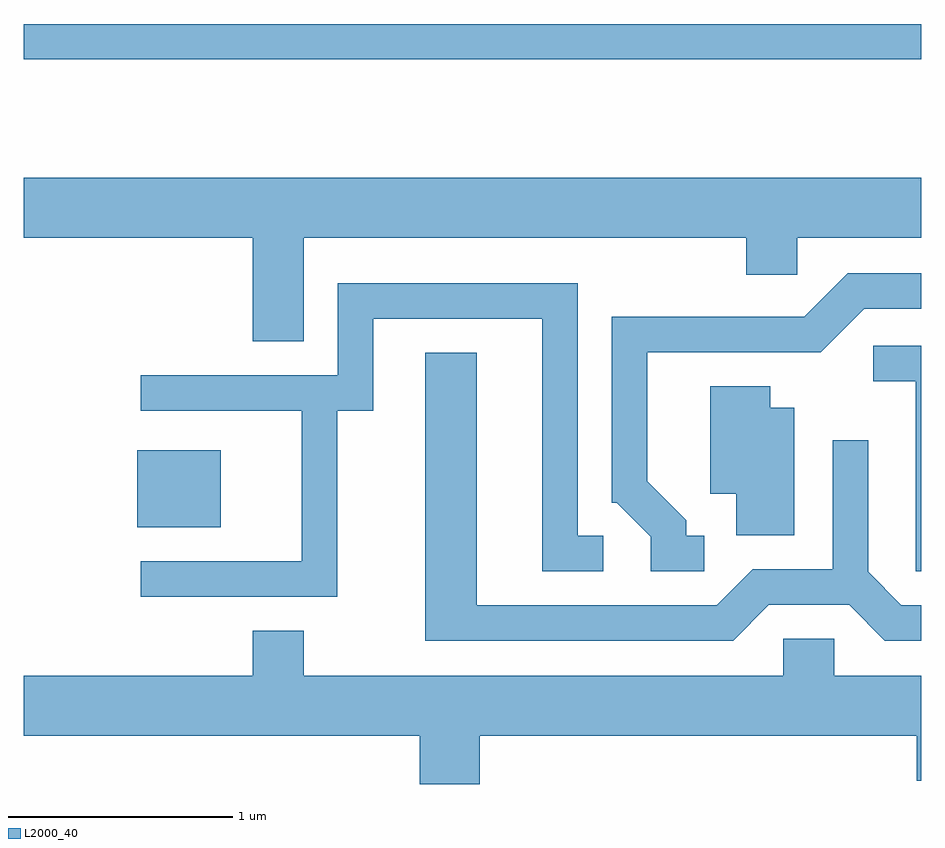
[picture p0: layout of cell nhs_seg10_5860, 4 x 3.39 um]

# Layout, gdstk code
import gdstk
lib = gdstk.Library(unit=1e-6, precision=1e-09)
def R(c, l, rs):  # rectangles x0, y0, x1, y1
    for r in rs: c.add(gdstk.rectangle(r[:2], r[2:], *l))
def P(c, l, *ps):  # polygons
    for p in ps: c.add(gdstk.Polygon(p, *l))
L2000_40 = (2000, 40)

nhs_seg10_5860 = lib.new_cell('nhs_seg10_5860')
R(nhs_seg10_5860, L2000_40, [(358.116,2183.666,358.489,2184.009), (357.611,2185.751,361.611,2185.909)])
P(nhs_seg10_5860, L2000_40, [(358.859,2184.956),(360.831,2184.956),(360.831,2184.791),(361.059,2184.791),(361.059,2184.956),(361.611,2184.956),(361.611,2185.224),(357.611,2185.224),(357.611,2184.956),(358.631,2184.956),(358.631,2184.496),(358.859,2184.496)],
  [(360.643,2183.629),(360.564,2183.629),(360.564,2183.697),(360.389,2183.872),(360.389,2184.446),(361.162,2184.446),(361.357,2184.641),(361.611,2184.641),(361.611,2184.799),(361.284,2184.799),(361.089,2184.604),(360.231,2184.604),(360.231,2183.776),(360.254,2183.776),(360.406,2183.624),(360.406,2183.471),(360.643,2183.471)],
  [(359.009,2184.186),(359.169,2184.186),(359.169,2184.596),(359.921,2184.596),(359.921,2183.471),(360.193,2183.471),(360.193,2183.629),(360.079,2183.629),(360.079,2184.754),(359.011,2184.754),(359.011,2184.344),(358.133,2184.344),(358.133,2184.186),(358.851,2184.186),(358.851,2183.514),(358.133,2183.514),(358.133,2183.356),(359.009,2183.356)],
  [(361.611,2184.474),(361.398,2184.474),(361.398,2184.316),(361.586,2184.316),(361.586,2183.471),(361.611,2183.471)],
  [(360.932,2183.321),(361.289,2183.321),(361.449,2183.161),(361.611,2183.161),(361.611,2183.319),(361.522,2183.319),(361.374,2183.467),(361.374,2184.053),(361.216,2184.053),(361.216,2183.479),(360.859,2183.479),(360.699,2183.319),(359.629,2183.319),(359.629,2184.444),(359.401,2184.444),(359.401,2183.161),(360.772,2183.161)],
  [(361.044,2184.199),(360.939,2184.199),(360.939,2184.294),(360.671,2184.294),(360.671,2183.816),(360.786,2183.816),(360.786,2183.631),(361.044,2183.631)],
  [(359.644,2182.736),(361.591,2182.736),(361.591,2182.536),(361.611,2182.536),(361.611,2183.004),(361.224,2183.004),(361.224,2183.169),(360.996,2183.169),(360.996,2183.004),(358.859,2183.004),(358.859,2183.204),(358.631,2183.204),(358.631,2183.004),(357.611,2183.004),(357.611,2182.736),(359.376,2182.736),(359.376,2182.522),(359.644,2182.522)])

lib.write_gds('nhs_seg10_5860.gds')
